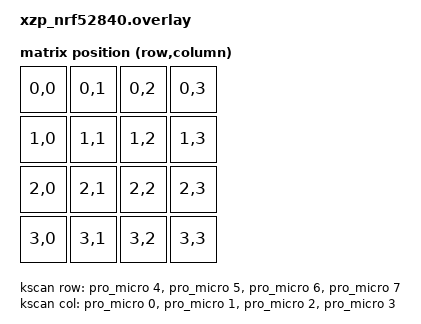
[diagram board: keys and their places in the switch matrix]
// 4x4 matrix keyboard for nice!nano v2 (Pro Micro compatible).
// Column pins (outputs): D0, D1, D2, D3
// Row pins (inputs):     D4, D5, D6, D7
// See https://zmk.dev/docs/config/kscan for the kscan driver docs.

#include <dt-bindings/zmk/matrix_transform.h>

#include "xzp_nrf52840-layouts.dtsi"

/ {
    chosen {
        zmk,physical-layout = &default_layout;
    };

    kscan: kscan {
        compatible = "zmk,kscan-gpio-matrix";
        // Columns are driven (outputs), rows are read (inputs).
        diode-direction = "col2row";
        wakeup-source;

        col-gpios
            = <&pro_micro 0 GPIO_ACTIVE_HIGH>
            , <&pro_micro 1 GPIO_ACTIVE_HIGH>
            , <&pro_micro 2 GPIO_ACTIVE_HIGH>
            , <&pro_micro 3 GPIO_ACTIVE_HIGH>
            ;

        row-gpios
            = <&pro_micro 4 (GPIO_ACTIVE_HIGH | GPIO_PULL_DOWN)>
            , <&pro_micro 5 (GPIO_ACTIVE_HIGH | GPIO_PULL_DOWN)>
            , <&pro_micro 6 (GPIO_ACTIVE_HIGH | GPIO_PULL_DOWN)>
            , <&pro_micro 7 (GPIO_ACTIVE_HIGH | GPIO_PULL_DOWN)>
            ;
    };

    default_transform: default_transform {
        compatible = "zmk,matrix-transform";
        columns = <4>;
        rows = <4>;

        map = <
            RC(0,0) RC(0,1) RC(0,2) RC(0,3)
            RC(1,0) RC(1,1) RC(1,2) RC(1,3)
            RC(2,0) RC(2,1) RC(2,2) RC(2,3)
            RC(3,0) RC(3,1) RC(3,2) RC(3,3)
        >;
    };
};
